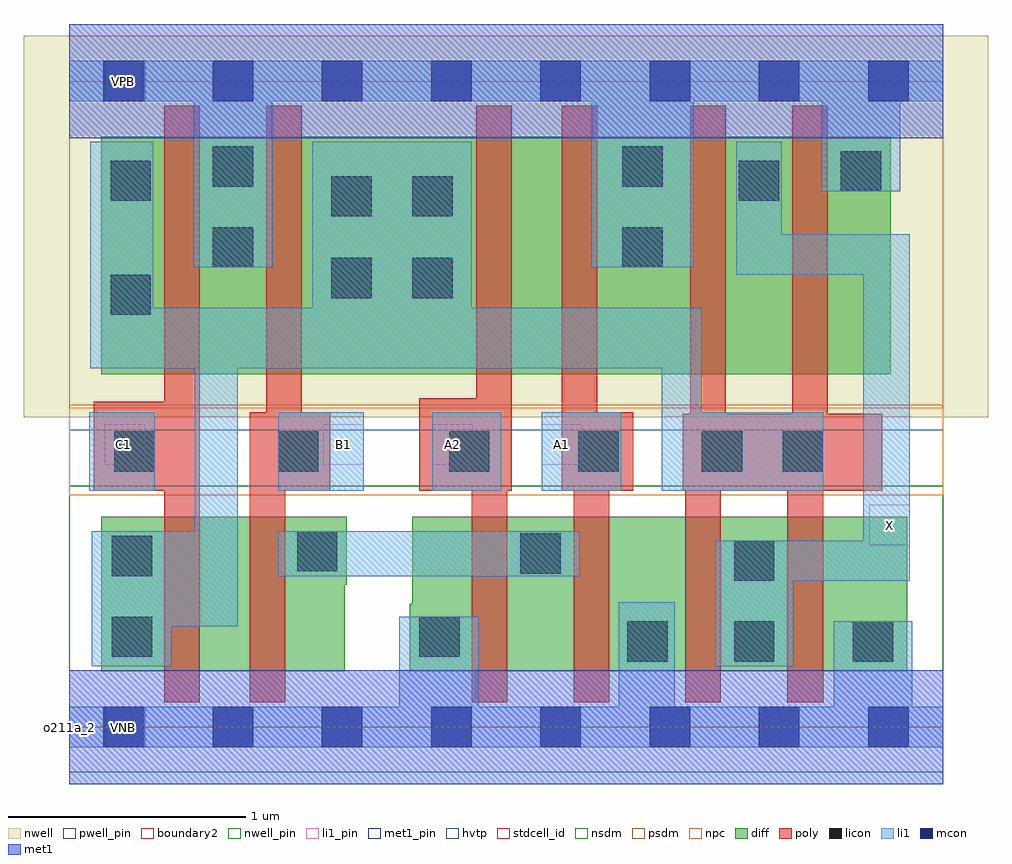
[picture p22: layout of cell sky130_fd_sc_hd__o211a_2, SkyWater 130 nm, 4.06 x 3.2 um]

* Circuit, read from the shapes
.subckt sky130_fd_sc_hd__o211a_2 A1 A2 B1 C1 VGND VNB VPB VPWR X
XM1 n1 C1 n2 VNB sky130_fd_pr__nfet_01v8 w=0.65 l=0.15
XM2 n3 B1 n1 VNB sky130_fd_pr__nfet_01v8 w=0.65 l=0.15
XM3 n3 A2 VGND VNB sky130_fd_pr__nfet_01v8 w=0.65 l=0.15
XM4 VGND A1 n3 VNB sky130_fd_pr__nfet_01v8 w=0.65 l=0.15
XM5 X n2 VGND VNB sky130_fd_pr__nfet_01v8 w=0.65 l=0.15 m=2
XM6 VPWR C1 n2 VPB sky130_fd_pr__pfet_01v8_hvt w=1 l=0.15
XM7 n2 B1 VPWR VPB sky130_fd_pr__pfet_01v8_hvt w=1 l=0.15
XM8 n4 A2 n2 VPB sky130_fd_pr__pfet_01v8_hvt w=1 l=0.15
XM9 VPWR A1 n4 VPB sky130_fd_pr__pfet_01v8_hvt w=1 l=0.15
XM10 X n2 VPWR VPB sky130_fd_pr__pfet_01v8_hvt w=1 l=0.15 m=2
.ends

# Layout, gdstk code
import gdstk
lib = gdstk.Library(unit=1e-6, precision=1e-09)
def R(c, l, rs):  # rectangles x0, y0, x1, y1
    for r in rs: c.add(gdstk.rectangle(r[:2], r[2:], *l))
def A(c, l, x, y, w, h, nx, ny, dx, dy):  # array of equal rectangles
    R(c, l, [(x+i*dx, y+j*dy, x+i*dx+w, y+j*dy+h) for i in range(nx) for j in range(ny)])
def P(c, l, *ps):  # polygons
    for p in ps: c.add(gdstk.Polygon(p, *l))
nwell_pin = (64, 16)
nwell = (64, 20)
diff = (65, 20)
poly = (66, 20)
licon = (66, 44)
li1_pin = (67, 16)
li1 = (67, 20)
mcon = (67, 44)
met1_pin = (68, 16)
met1 = (68, 20)
hvtp = (78, 44)
stdcell_id = (81, 4)
nsdm = (93, 44)
psdm = (94, 20)
npc = (95, 20)
pwell_pin = (122, 16)
boundary2 = (236, 0)

sky130_fd_sc_hd__o211a_2 = lib.new_cell('sky130_fd_sc_hd__o211a_2')
R(sky130_fd_sc_hd__o211a_2, nwell_pin, [(0.15,2.635,0.32,2.805)])
R(sky130_fd_sc_hd__o211a_2, nwell, [(-0.19,1.305,3.87,2.91)])
R(sky130_fd_sc_hd__o211a_2, diff, [(0.135,1.485,3.46,2.485)])
P(sky130_fd_sc_hd__o211a_2, diff, [(0.135,0.235),(0.135,0.885),(1.17,0.885),(1.17,0.6),(1.16,0.6),(1.16,0.235)],
  [(1.435,0.235),(1.435,0.52),(1.445,0.52),(1.445,0.885),(3.53,0.885),(3.53,0.235)])
R(sky130_fd_sc_hd__o211a_2, poly, [(2.585,0.995,2.595,1.32)])
P(sky130_fd_sc_hd__o211a_2, poly, [(2.125,0.105),(2.125,0.995),(2.075,0.995),(2.075,2.615),(2.225,2.615),(2.225,1.325),(2.375,1.325),(2.375,0.995),(2.275,0.995),(2.275,0.105)],
  [(0.4,0.105),(0.4,0.995),(0.105,0.995),(0.105,1.37),(0.4,1.37),(0.4,2.615),(0.55,2.615),(0.55,0.105)],
  [(0.76,0.105),(0.76,1.325),(0.83,1.325),(0.83,2.615),(0.98,2.615),(0.98,1.325),(1.1,1.325),(1.1,0.995),(0.91,0.995),(0.91,0.105)],
  [(1.695,0.105),(1.695,0.995),(1.475,0.995),(1.475,1.385),(1.715,1.385),(1.715,2.615),(1.865,2.615),(1.865,0.995),(1.845,0.995),(1.845,0.105)],
  [(2.595,0.105),(2.595,1.32),(2.615,1.32),(2.615,2.615),(2.765,2.615),(2.765,1.32),(3.045,1.32),(3.045,2.615),(3.195,2.615),(3.195,1.32),(3.425,1.32),(3.425,0.995),(3.175,0.995),(3.175,0.105),(3.025,0.105),(3.025,0.995),(2.745,0.995),(2.745,0.105)])
R(sky130_fd_sc_hd__o211a_2, licon, [(2.35,0.275,2.52,0.445), (2.8,0.275,2.97,0.445), (3.3,0.275,3.47,0.445), (0.18,0.295,0.35,0.465), (1.475,0.295,1.645,0.465), (2.8,0.615,2.97,0.785), (0.18,0.635,0.35,0.805), (1.9,0.645,2.07,0.815), (0.96,0.655,1.13,0.825), (0.19,1.075,0.36,1.245), (0.88,1.075,1.05,1.245), (1.6,1.075,1.77,1.245), (2.145,1.075,2.315,1.245), (2.665,1.075,2.835,1.245), (3.005,1.075,3.175,1.245), (0.175,1.735,0.345,1.905), (1.105,1.805,1.275,1.975), (1.445,1.805,1.615,1.975), (0.605,1.935,0.775,2.105), (2.33,1.935,2.5,2.105), (1.105,2.15,1.275,2.32), (1.445,2.15,1.615,2.32), (0.175,2.215,0.345,2.385), (2.82,2.215,2.99,2.385), (3.25,2.255,3.42,2.425), (0.605,2.275,0.775,2.445), (2.33,2.275,2.5,2.445)])
A(sky130_fd_sc_hd__o211a_2, li1_pin, 1.07, 1.105, 0.17, 0.17, 3, 1, 0.46, 0)
R(sky130_fd_sc_hd__o211a_2, li1_pin, [(3.37,0.765,3.54,0.935), (0.15,1.105,0.32,1.275)])
R(sky130_fd_sc_hd__o211a_2, li1, [(0.88,0.635,2.15,0.825), (0.085,0.995,0.36,1.325), (0.88,0.995,1.24,1.325), (1.53,0.995,1.82,1.325), (1.99,0.995,2.325,1.325)])
P(sky130_fd_sc_hd__o211a_2, li1, [(0,-0.085),(0,0.085),(1.39,0.085),(1.39,0.465),(1.725,0.465),(1.725,0.085),(2.315,0.085),(2.315,0.525),(2.55,0.525),(2.55,0.085),(3.22,0.085),(3.22,0.445),(3.55,0.445),(3.55,0.085),(3.68,0.085),(3.68,-0.085)],
  [(0.525,1.935),(0.525,2.635),(0,2.635),(0,2.805),(3.68,2.805),(3.68,2.635),(3.5,2.635),(3.5,2.255),(3.17,2.255),(3.17,2.635),(2.63,2.635),(2.63,1.935),(2.2,1.935),(2.2,2.635),(0.855,2.635),(0.855,1.935)],
  [(0.095,0.255),(0.095,0.825),(0.53,0.825),(0.53,1.51),(0.09,1.51),(0.09,2.465),(0.355,2.465),(0.355,1.765),(1.025,1.765),(1.025,2.465),(1.695,2.465),(1.695,1.765),(2.665,1.765),(2.665,1.325),(3.175,1.325),(3.175,0.995),(2.495,0.995),(2.495,1.51),(0.71,1.51),(0.71,0.425),(0.43,0.425),(0.43,0.255)],
  [(2.72,0.255),(2.72,0.785),(3.345,0.785),(3.345,1.905),(2.81,1.905),(2.81,2.465),(3,2.465),(3,2.075),(3.54,2.075),(3.54,0.615),(3.05,0.615),(3.05,0.255)])
A(sky130_fd_sc_hd__o211a_2, mcon, 0.145, -0.085, 0.17, 0.17, 8, 2, 0.46, 2.72)
R(sky130_fd_sc_hd__o211a_2, met1_pin, [(0.15,-0.085,0.32,0.085), (0.15,2.635,0.32,2.805)])
R(sky130_fd_sc_hd__o211a_2, hvtp, [(0,1.25,3.68,2.72)])
R(sky130_fd_sc_hd__o211a_2, stdcell_id, [(0,0,3.68,2.72)])
R(sky130_fd_sc_hd__o211a_2, nsdm, [(0,-0.19,3.68,1.015)])
R(sky130_fd_sc_hd__o211a_2, psdm, [(0,1.355,3.68,2.91)])
R(sky130_fd_sc_hd__o211a_2, npc, [(0,0.975,3.68,1.345)])
R(sky130_fd_sc_hd__o211a_2, pwell_pin, [(0.15,-0.085,0.32,0.085)])
R(sky130_fd_sc_hd__o211a_2, boundary2, [(0,0,3.68,2.72)])
sky130_fd_sc_hd__o211a_2.add(gdstk.FlexPath([(0,2.72),(3.68,2.72)], 0.48, ends="flush", simple_path=True, layer=68, datatype=20))  # met1
sky130_fd_sc_hd__o211a_2.add(gdstk.FlexPath([(0,0),(3.68,0)], 0.48, ends="flush", simple_path=True, layer=68, datatype=20))  # met1
sky130_fd_sc_hd__o211a_2.add(gdstk.Label('C1', (0.23,1.19), layer=67, texttype=5))
sky130_fd_sc_hd__o211a_2.add(gdstk.Label('B1', (1.155,1.19), layer=67, texttype=5))
sky130_fd_sc_hd__o211a_2.add(gdstk.Label('A2', (1.615,1.19), layer=67, texttype=5))
sky130_fd_sc_hd__o211a_2.add(gdstk.Label('A1', (2.075,1.19), layer=67, texttype=5))
sky130_fd_sc_hd__o211a_2.add(gdstk.Label('X', (3.455,0.85), layer=67, texttype=5))
sky130_fd_sc_hd__o211a_2.add(gdstk.Label('VNB', (0.23,0), layer=64, texttype=59))
sky130_fd_sc_hd__o211a_2.add(gdstk.Label('VPB', (0.23,2.72), layer=64, texttype=5))
sky130_fd_sc_hd__o211a_2.add(gdstk.Label('VPWR', (0.23,2.72), layer=68, texttype=5))
sky130_fd_sc_hd__o211a_2.add(gdstk.Label('VGND', (0.23,0), layer=68, texttype=5))
sky130_fd_sc_hd__o211a_2.add(gdstk.Label('o211a_2', (0,0), layer=83, texttype=44))

lib.write_gds('sky130_fd_sc_hd__o211a_2.gds')
